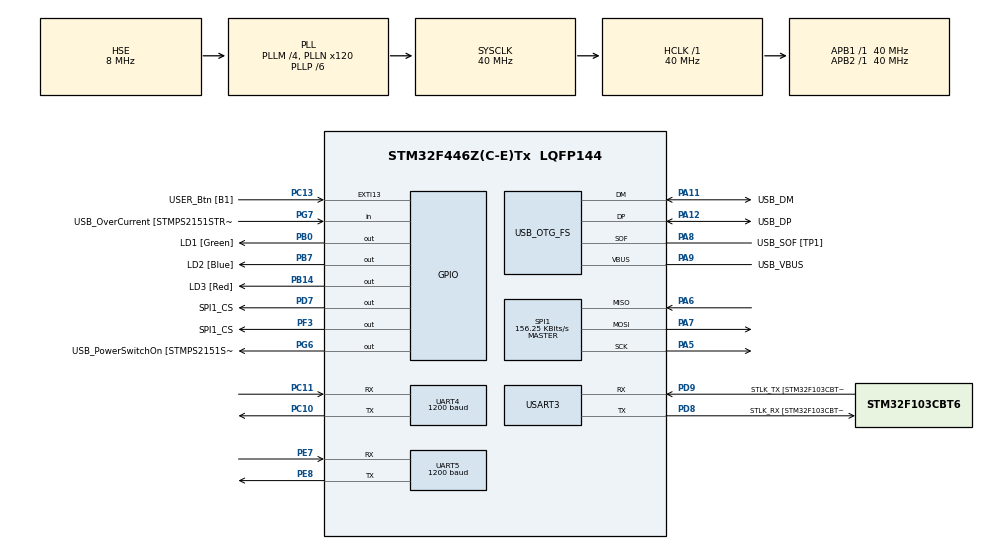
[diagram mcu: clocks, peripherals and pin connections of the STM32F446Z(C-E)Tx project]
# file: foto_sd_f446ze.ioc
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FATFS._USE_LFN=1
Mcu.Family=STM32F4
Mcu.Name=STM32F446Z(C-E)Tx
Mcu.Package=LQFP144
NVIC.PriorityGroup=NVIC_PRIORITYGROUP_4
PA10.GPIO_Label=USB_ID
PA10.Signal=USB_OTG_FS_ID
PA11.GPIO_Label=USB_DM
PA11.Mode=Device_Only
PA11.Signal=USB_OTG_FS_DM
PA12.GPIO_Label=USB_DP
PA12.Mode=Device_Only
PA12.Signal=USB_OTG_FS_DP
PA13.GPIO_Label=TMS
PA13.Mode=Serial_Wire
PA13.Signal=SYS_JTMS-SWDIO
PA14.GPIO_Label=TCK
PA14.Mode=Serial_Wire
PA14.Signal=SYS_JTCK-SWCLK
PA5.Mode=Full_Duplex_Master
PA5.Signal=SPI1_SCK
PA6.Mode=Full_Duplex_Master
PA6.Signal=SPI1_MISO
PA7.Mode=Full_Duplex_Master
PA7.Signal=SPI1_MOSI
PA8.GPIO_Label=USB_SOF [TP1]
PA8.Mode=Activate_SOF_FS
PA8.Signal=USB_OTG_FS_SOF
PA9.GPIO_Label=USB_VBUS
PA9.Mode=Activate_VBUS
PA9.Signal=USB_OTG_FS_VBUS
PB0.GPIO_Label=LD1 [Green]
PB0.Signal=GPIO_Output
PB14.GPIO_Label=LD3 [Red]
PB14.Signal=GPIO_Output
PB7.GPIO_Label=LD2 [Blue]
PB7.Signal=GPIO_Output
PC10.Mode=Asynchronous
PC10.Signal=UART4_TX
PC11.Mode=Asynchronous
PC11.Signal=UART4_RX
PC13.GPIO_Label=USER_Btn [B1]
PC13.Signal=GPXTI13
PC14-OSC32_IN.Mode=LSE-External-Oscillator
PC14-OSC32_IN.Signal=RCC_OSC32_IN
PC15-OSC32_OUT.Mode=LSE-External-Oscillator
PC15-OSC32_OUT.Signal=RCC_OSC32_OUT
PD7.GPIO_Label=SPI1_CS
PD7.Signal=GPIO_Output
PD8.GPIO_Label=STLK_RX [STM32F103CBT6_PA3]
PD8.Mode=Asynchronous
PD8.Signal=USART3_TX
PD9.GPIO_Label=STLK_TX [STM32F103CBT6_PA2]
PD9.Mode=Asynchronous
PD9.Signal=USART3_RX
PE7.Mode=Asynchronous
PE7.Signal=UART5_RX
PE8.Mode=Asynchronous
PE8.Signal=UART5_TX
PF3.GPIO_Label=SPI1_CS
PF3.Signal=GPIO_Output
PG6.GPIO_Label=USB_PowerSwitchOn [STMPS2151STR_EN]
PG6.Signal=GPIO_Output
PG7.GPIO_Label=USB_OverCurrent [STMPS2151STR_FAULT]
PG7.Signal=GPIO_Input
PH0-OSC_IN.GPIO_Label=MCO [STM32F103CBT6_PA8]
PH0-OSC_IN.Mode=HSE-External-Clock-Source
PH0-OSC_IN.Signal=RCC_OSC_IN
PH1-OSC_OUT.Mode=HSE-External-Clock-Source
PH1-OSC_OUT.Signal=RCC_OSC_OUT
ProjectManager.HeapSize=0x200
ProjectManager.StackSize=0x400
ProjectManager.TargetToolchain=STM32CubeIDE
RCC.48MHZClocksFreq_Value=24000000
RCC.AHBFreq_Value=40000000
RCC.APB1Freq_Value=40000000
RCC.APB1TimFreq_Value=40000000
RCC.APB2Freq_Value=40000000
RCC.APB2TimFreq_Value=40000000
RCC.CortexFreq_Value=40000000
RCC.HCLKFreq_Value=40000000
RCC.HSE_VALUE=8000000
RCC.HSI_VALUE=16000000
RCC.PLLM=4
RCC.PLLMUL=RCC_PLL_MUL9
RCC.PLLN=120
RCC.PLLP=RCC_PLLP_DIV6
RCC.PLLQ=5
RCC.PRESCALERUSB=RCC_USBCLKSOURCE_PLL_DIV1_5
RCC.SYSCLKFreq_VALUE=40000000
RCC.SYSCLKSource=RCC_SYSCLKSOURCE_PLLCLK
RCC.SYSCLKSourceVirtual=RCC_SYSCLKSOURCE_PLLCLK
RCC.USBFreq_Value=48000000
RCC.VCOOutputFreq_Value=240000000
SPI1.BaudRatePrescaler=SPI_BAUDRATEPRESCALER_256
SPI1.CalculateBaudRate=156.25 KBits/s
SPI1.Direction=SPI_DIRECTION_2LINES
SPI1.Mode=SPI_MODE_MASTER
SPI1.VirtualType=VM_MASTER
UART4.BaudRate=1200
UART4.VirtualMode=Asynchronous
UART5.BaudRate=1200
UART5.VirtualMode=Asynchronous
USART3.VirtualMode=VM_ASYNC
USB_OTG_FS.VirtualMode=Device_Only
VP_FATFS_VS_Generic.Mode=User_defined
board=NUCLEO-F446ZE

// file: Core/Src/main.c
/* USER CODE BEGIN Header */
/**
  ******************************************************************************
  * @file           : main.c
  * @brief          : Main program body
  ******************************************************************************
  * @attention
  *
  * Copyright (c) 2025 STMicroelectronics.
  * All rights reserved.
  *
  * This software is licensed under terms that can be found in the LICENSE file
  * in the root directory of this software component.
  * If no LICENSE file comes with this software, it is provided AS-IS.
  *
  ******************************************************************************
  */
/* USER CODE END Header */
#include "main.h"
#include "fatfs.h"

/* USER CODE BEGIN Includes */

#include <stdio.h>
#include <string.h>
#include <stdarg.h>
#include <stdbool.h>

/* USER CODE END Includes */

/* USER CODE BEGIN PD */

/* ---- CONFIGURE THIS ---- */
#define LINK_UART_HANDLE  huart5          // <--- change to your UART handle (huart3, huart7, etc.)
#define SEND_FILENAME     "im4.JPG"     // file on the SD card to send
/* ------------------------ */

#define CHUNK          64u              // multiple of 512 recommended
#define SOF0           0x55
#define SOF1           0xAA
#define ACK            0x06
#define NAK            0x15
#define UART_TMO_MS    500
#define MAX_RETRY      8

extern UART_HandleTypeDef LINK_UART_HANDLE;

void myprintf(const char *fmt, ...);

/* USER CODE END PD */

SPI_HandleTypeDef hspi1;

UART_HandleTypeDef huart4;
UART_HandleTypeDef huart5;
UART_HandleTypeDef huart3;

PCD_HandleTypeDef hpcd_USB_OTG_FS;

/* USER CODE BEGIN PV */

void myprintf(const char *fmt, ...) {
  static char buffer[256];
  va_list args;
  va_start(args, fmt);
  vsnprintf(buffer, sizeof(buffer), fmt, args);
  va_end(args);

  int len = strlen(buffer);
  HAL_UART_Transmit(&huart4, (uint8_t*)buffer, len, -1);

}

/* ===== CRC16-CCITT (poly 0x1021, init 0xFFFF) ===== */
static uint16_t crc16_ccitt(const uint8_t *data, uint32_t len)
{
    uint16_t crc = 0xFFFF;
    for (uint32_t i = 0; i < len; i++) {
        crc ^= ((uint16_t)data[i]) << 8;
        for (uint8_t b = 0; b < 8; b++) {
            crc = (crc & 0x8000) ? (uint16_t)((crc << 1) ^ 0x1021) : (uint16_t)(crc << 1);
        }
    }
    return crc;
}

/* ===== UART helpers (blocking) ===== */
static int uart_send(const void *p, uint16_t n)
{
    return (HAL_UART_Transmit(&LINK_UART_HANDLE, (uint8_t*)p, n, HAL_MAX_DELAY) == HAL_OK) ? 0 : -1;
}
static int uart_recv(void *p, uint16_t n, uint32_t tmo)
{
    return (HAL_UART_Receive(&LINK_UART_HANDLE, (uint8_t*)p, n, tmo) == HAL_OK) ? 0 : -1;
}

/* ===== Protocol: header + framed data ===== */
static int send_header(uint32_t fsz)
{
    uint8_t hdr[6] = { 'S','Z', (uint8_t)(fsz), (uint8_t)(fsz>>8), (uint8_t)(fsz>>16), (uint8_t)(fsz>>24) };
    if (uart_send(hdr, sizeof(hdr)) != 0) return -1;

    uint8_t ack = 0;
    if (uart_recv(&ack, 1, UART_TMO_MS) != 0) return -2;
    return (ack == ACK) ? 0 : -3;
}

static int send_frame(uint16_t seq, const uint8_t *data, uint16_t len)
{
	myprintf("Enviando x4 \r\n");
    static uint8_t tx[CHUNK + 8]; // SOF(2) + seq(2) + len(2) + payload + crc(2)
    tx[0] = SOF0; tx[1] = SOF1;
    tx[2] = (uint8_t)(seq); tx[3] = (uint8_t)(seq >> 8);
    tx[4] = (uint8_t)(len); tx[5] = (uint8_t)(len >> 8);
    memcpy(&tx[6], data, len);
    uint16_t crc = crc16_ccitt(data, len);
    tx[6 + len]     = (uint8_t)(crc);
    tx[6 + len + 1] = (uint8_t)(crc >> 8);

    for (int attempt = 0; attempt < MAX_RETRY; attempt++) {
        if (uart_send(tx, (uint16_t)(len + 8)) != 0) return -10;

        uint8_t resp[3];
        if (uart_recv(resp, 3, UART_TMO_MS) == 0 && resp[0] == ACK) {
            uint16_t seq_echo = (uint16_t)resp[1] | ((uint16_t)resp[2] << 8);
            if (seq_echo == seq) return 0;
        }
        // retry on timeout or NAK
    }
    return -11;
}

/* ===== Public API: send a file ===== */
int send_file_over_uart(const char *path)
{
    FRESULT fr;
    FATFS fs;
    FIL   f;
    UINT  br;
    static uint8_t buf[CHUNK];

    // Ensure FatFs is wired to SPI SD in your project
    MX_FATFS_Init();
    fr = f_mount(&fs, "", 1);
    if (fr != FR_OK) return -100;
    myprintf("Enviando x2 \r\n");

    fr = f_open(&f, path, FA_READ | FA_OPEN_EXISTING);
    if (fr != FR_OK) { f_mount(NULL, "", 0); return -101; }

    uint32_t fsz = (uint32_t)f_size(&f);
    if (send_header(fsz) != 0) { f_close(&f); f_mount(NULL, "", 0); return -102; }

    uint16_t seq = 0;
    uint32_t sent = 0;

    while (sent < fsz) {
    	myprintf("Enviando x3 \r\n");

        UINT need = (fsz - sent > CHUNK) ? CHUNK : (UINT)(fsz - sent);
        fr = f_read(&f, buf, need, &br);
        if (fr != FR_OK) { f_close(&f); f_mount(NULL, "", 0); return -103; }
        if (br == 0) break;

        if (send_frame(seq, buf, (uint16_t)br) != 0) { f_close(&f); f_mount(NULL, "", 0); return -104; }
        sent += br;
        seq++;
    }

    f_close(&f);
    f_mount(NULL, "", 0);
    return 0;
}

/* ===== Button-driven send (polling) =====
 * Requires USER button as input (e.g., Nucleo B1 on PC13).
 */
static volatile bool g_sending  = false;
static bool btn_prev = true; // idle-high on many Nucleo boards

static bool button_pressed_edge(void)
{
    bool now = (HAL_GPIO_ReadPin(USER_Btn_GPIO_Port, USER_Btn_Pin) == GPIO_PIN_RESET);
    bool pressed = (btn_prev && !now); // high -> low
    btn_prev = now;
    return pressed;
}

void user_loop_sender(void)
{
    if (!g_sending && button_pressed_edge()) {
    	myprintf("Enviando \r\n");
        g_sending = true;
        (void)send_file_over_uart(SEND_FILENAME);
        g_sending = false;
    }
}
/* ================== END F446ZE SENDER ================== */

/* USER CODE END PV */

void SystemClock_Config(void);
static void MX_GPIO_Init(void);
static void MX_USART3_UART_Init(void);
static void MX_USB_OTG_FS_PCD_Init(void);
static void MX_SPI1_Init(void);
static void MX_UART5_Init(void);
static void MX_UART4_Init(void);

int main(void)
{

  /* MCU Configuration--------------------------------------------------------*/

  /* Reset of all peripherals, Initializes the Flash interface and the Systick. */
  HAL_Init();

  /* Configure the system clock */
  SystemClock_Config();

  /* Initialize all configured peripherals */
  MX_GPIO_Init();
  MX_USART3_UART_Init();
  MX_USB_OTG_FS_PCD_Init();
  MX_SPI1_Init();
  MX_UART5_Init();
  MX_FATFS_Init();
  MX_UART4_Init();
  /* USER CODE BEGIN 2 */

  myprintf("\r\n~ SD card demo by kiwih ~\r\n\r\n");

  HAL_Delay(2000); //a short delay is important to let the SD card settle

  //some variables for FatFs
  FATFS FatFs; 	//Fatfs handle
  FIL fil; 		//File handle
  FRESULT fres; //Result after operations

  //Open the file system
  fres = f_mount(&FatFs, "", 1); //1=mount now
  if (fres != FR_OK) {
	myprintf("f_mount error (%i)\r\n", fres);
	while(1);
  }

  //Let's get some statistics from the SD card
  DWORD free_clusters, free_sectors, total_sectors;

  FATFS* getFreeFs;

  fres = f_getfree("", &free_clusters, &getFreeFs);
  if (fres != FR_OK) {
	myprintf("f_getfree error (%i)\r\n", fres);
	while(1);
  }

  //Formula comes from ChaN's documentation
  total_sectors = (getFreeFs->n_fatent - 2) * getFreeFs->csize;
  free_sectors = free_clusters * getFreeFs->csize;

  myprintf("SD card stats:\r\n%10lu KiB total drive space.\r\n%10lu KiB available.\r\n", total_sectors / 2, free_sectors / 2);
  HAL_Delay(1000);

  /* USER CODE END 2 */

  /* Infinite loop */
  while (1)
  {
	  user_loop_sender();
  }
}

void SystemClock_Config(void)
{
  RCC_OscInitTypeDef RCC_OscInitStruct = {0};
  RCC_ClkInitTypeDef RCC_ClkInitStruct = {0};

  /** Configure the main internal regulator output voltage
  */
  __HAL_RCC_PWR_CLK_ENABLE();
  __HAL_PWR_VOLTAGESCALING_CONFIG(PWR_REGULATOR_VOLTAGE_SCALE3);

  /** Initializes the RCC Oscillators according to the specified parameters
  * in the RCC_OscInitTypeDef structure.
  */
  RCC_OscInitStruct.OscillatorType = RCC_OSCILLATORTYPE_HSE;
  RCC_OscInitStruct.HSEState = RCC_HSE_BYPASS;
  RCC_OscInitStruct.PLL.PLLState = RCC_PLL_ON;
  RCC_OscInitStruct.PLL.PLLSource = RCC_PLLSOURCE_HSE;
  RCC_OscInitStruct.PLL.PLLM = 4;
  RCC_OscInitStruct.PLL.PLLN = 120;
  RCC_OscInitStruct.PLL.PLLP = RCC_PLLP_DIV6;
  RCC_OscInitStruct.PLL.PLLQ = 5;
  RCC_OscInitStruct.PLL.PLLR = 2;
  if (HAL_RCC_OscConfig(&RCC_OscInitStruct) != HAL_OK)
  {
    Error_Handler();
  }

  /** Initializes the CPU, AHB and APB buses clocks
  */
  RCC_ClkInitStruct.ClockType = RCC_CLOCKTYPE_HCLK|RCC_CLOCKTYPE_SYSCLK
                              |RCC_CLOCKTYPE_PCLK1|RCC_CLOCKTYPE_PCLK2;
  RCC_ClkInitStruct.SYSCLKSource = RCC_SYSCLKSOURCE_PLLCLK;
  RCC_ClkInitStruct.AHBCLKDivider = RCC_SYSCLK_DIV1;
  RCC_ClkInitStruct.APB1CLKDivider = RCC_HCLK_DIV1;
  RCC_ClkInitStruct.APB2CLKDivider = RCC_HCLK_DIV1;

  if (HAL_RCC_ClockConfig(&RCC_ClkInitStruct, FLASH_LATENCY_1) != HAL_OK)
  {
    Error_Handler();
  }
}

static void MX_SPI1_Init(void)
{

  /* SPI1 parameter configuration*/
  hspi1.Instance = SPI1;
  hspi1.Init.Mode = SPI_MODE_MASTER;
  hspi1.Init.Direction = SPI_DIRECTION_2LINES;
  hspi1.Init.DataSize = SPI_DATASIZE_8BIT;
  hspi1.Init.CLKPolarity = SPI_POLARITY_LOW;
  hspi1.Init.CLKPhase = SPI_PHASE_1EDGE;
  hspi1.Init.NSS = SPI_NSS_SOFT;
  hspi1.Init.BaudRatePrescaler = SPI_BAUDRATEPRESCALER_256;
  hspi1.Init.FirstBit = SPI_FIRSTBIT_MSB;
  hspi1.Init.TIMode = SPI_TIMODE_DISABLE;
  hspi1.Init.CRCCalculation = SPI_CRCCALCULATION_DISABLE;
  hspi1.Init.CRCPolynomial = 10;
  if (HAL_SPI_Init(&hspi1) != HAL_OK)
  {
    Error_Handler();
  }

}

static void MX_UART4_Init(void)
{

  huart4.Instance = UART4;
  huart4.Init.BaudRate = 1200;
  huart4.Init.WordLength = UART_WORDLENGTH_8B;
  huart4.Init.StopBits = UART_STOPBITS_1;
  huart4.Init.Parity = UART_PARITY_NONE;
  huart4.Init.Mode = UART_MODE_TX_RX;
  huart4.Init.HwFlowCtl = UART_HWCONTROL_NONE;
  huart4.Init.OverSampling = UART_OVERSAMPLING_16;
  if (HAL_UART_Init(&huart4) != HAL_OK)
  {
    Error_Handler();
  }

}

static void MX_UART5_Init(void)
{

  huart5.Instance = UART5;
  huart5.Init.BaudRate = 1200;
  huart5.Init.WordLength = UART_WORDLENGTH_8B;
  huart5.Init.StopBits = UART_STOPBITS_1;
  huart5.Init.Parity = UART_PARITY_NONE;
  huart5.Init.Mode = UART_MODE_TX_RX;
  huart5.Init.HwFlowCtl = UART_HWCONTROL_NONE;
  huart5.Init.OverSampling = UART_OVERSAMPLING_16;
  if (HAL_UART_Init(&huart5) != HAL_OK)
  {
    Error_Handler();
  }

}

static void MX_USART3_UART_Init(void)
{

  huart3.Instance = USART3;
  huart3.Init.BaudRate = 115200;
  huart3.Init.WordLength = UART_WORDLENGTH_8B;
  huart3.Init.StopBits = UART_STOPBITS_1;
  huart3.Init.Parity = UART_PARITY_NONE;
  huart3.Init.Mode = UART_MODE_TX_RX;
  huart3.Init.HwFlowCtl = UART_HWCONTROL_NONE;
  huart3.Init.OverSampling = UART_OVERSAMPLING_16;
  if (HAL_UART_Init(&huart3) != HAL_OK)
  {
    Error_Handler();
  }

}

static void MX_USB_OTG_FS_PCD_Init(void)
{

  hpcd_USB_OTG_FS.Instance = USB_OTG_FS;
  hpcd_USB_OTG_FS.Init.dev_endpoints = 6;
  hpcd_USB_OTG_FS.Init.speed = PCD_SPEED_FULL;
  hpcd_USB_OTG_FS.Init.dma_enable = DISABLE;
  hpcd_USB_OTG_FS.Init.phy_itface = PCD_PHY_EMBEDDED;
  hpcd_USB_OTG_FS.Init.Sof_enable = ENABLE;
  hpcd_USB_OTG_FS.Init.low_power_enable = DISABLE;
  hpcd_USB_OTG_FS.Init.lpm_enable = DISABLE;
  hpcd_USB_OTG_FS.Init.vbus_sensing_enable = ENABLE;
  hpcd_USB_OTG_FS.Init.use_dedicated_ep1 = DISABLE;
  if (HAL_PCD_Init(&hpcd_USB_OTG_FS) != HAL_OK)
  {
    Error_Handler();
  }

}

static void MX_GPIO_Init(void)
{
  GPIO_InitTypeDef GPIO_InitStruct = {0};

  /* GPIO Ports Clock Enable */
  __HAL_RCC_GPIOC_CLK_ENABLE();
  __HAL_RCC_GPIOF_CLK_ENABLE();
  __HAL_RCC_GPIOH_CLK_ENABLE();
  __HAL_RCC_GPIOA_CLK_ENABLE();
  __HAL_RCC_GPIOB_CLK_ENABLE();
  __HAL_RCC_GPIOE_CLK_ENABLE();
  __HAL_RCC_GPIOD_CLK_ENABLE();
  __HAL_RCC_GPIOG_CLK_ENABLE();

  /*Configure GPIO pin Output Level */
  HAL_GPIO_WritePin(SPI1_CS_GPIO_Port, SPI1_CS_Pin, GPIO_PIN_RESET);

  /*Configure GPIO pin Output Level */
  HAL_GPIO_WritePin(GPIOB, LD1_Pin|LD3_Pin|LD2_Pin, GPIO_PIN_RESET);

  /*Configure GPIO pin Output Level */
  HAL_GPIO_WritePin(USB_PowerSwitchOn_GPIO_Port, USB_PowerSwitchOn_Pin, GPIO_PIN_RESET);

  /*Configure GPIO pin Output Level */
  HAL_GPIO_WritePin(SPI1_CSD7_GPIO_Port, SPI1_CSD7_Pin, GPIO_PIN_RESET);

  /*Configure GPIO pin : USER_Btn_Pin */
  GPIO_InitStruct.Pin = USER_Btn_Pin;
  GPIO_InitStruct.Mode = GPIO_MODE_IT_RISING;
  GPIO_InitStruct.Pull = GPIO_NOPULL;
  HAL_GPIO_Init(USER_Btn_GPIO_Port, &GPIO_InitStruct);

  /*Configure GPIO pin : SPI1_CS_Pin */
  GPIO_InitStruct.Pin = SPI1_CS_Pin;
  GPIO_InitStruct.Mode = GPIO_MODE_OUTPUT_PP;
  GPIO_InitStruct.Pull = GPIO_NOPULL;
  GPIO_InitStruct.Speed = GPIO_SPEED_FREQ_LOW;
  HAL_GPIO_Init(SPI1_CS_GPIO_Port, &GPIO_InitStruct);

  /*Configure GPIO pins : LD1_Pin LD3_Pin LD2_Pin */
  GPIO_InitStruct.Pin = LD1_Pin|LD3_Pin|LD2_Pin;
  GPIO_InitStruct.Mode = GPIO_MODE_OUTPUT_PP;
  GPIO_InitStruct.Pull = GPIO_NOPULL;
  GPIO_InitStruct.Speed = GPIO_SPEED_FREQ_LOW;
  HAL_GPIO_Init(GPIOB, &GPIO_InitStruct);

  /*Configure GPIO pin : USB_PowerSwitchOn_Pin */
  GPIO_InitStruct.Pin = USB_PowerSwitchOn_Pin;
  GPIO_InitStruct.Mode = GPIO_MODE_OUTPUT_PP;
  GPIO_InitStruct.Pull = GPIO_NOPULL;
  GPIO_InitStruct.Speed = GPIO_SPEED_FREQ_LOW;
  HAL_GPIO_Init(USB_PowerSwitchOn_GPIO_Port, &GPIO_InitStruct);

  /*Configure GPIO pin : USB_OverCurrent_Pin */
  GPIO_InitStruct.Pin = USB_OverCurrent_Pin;
  GPIO_InitStruct.Mode = GPIO_MODE_INPUT;
  GPIO_InitStruct.Pull = GPIO_NOPULL;
  HAL_GPIO_Init(USB_OverCurrent_GPIO_Port, &GPIO_InitStruct);

  /*Configure GPIO pin : SPI1_CSD7_Pin */
  GPIO_InitStruct.Pin = SPI1_CSD7_Pin;
  GPIO_InitStruct.Mode = GPIO_MODE_OUTPUT_PP;
  GPIO_InitStruct.Pull = GPIO_NOPULL;
  GPIO_InitStruct.Speed = GPIO_SPEED_FREQ_LOW;
  HAL_GPIO_Init(SPI1_CSD7_GPIO_Port, &GPIO_InitStruct);

}

void Error_Handler(void)
{
  __disable_irq();
  while (1)
  {
  }
}
